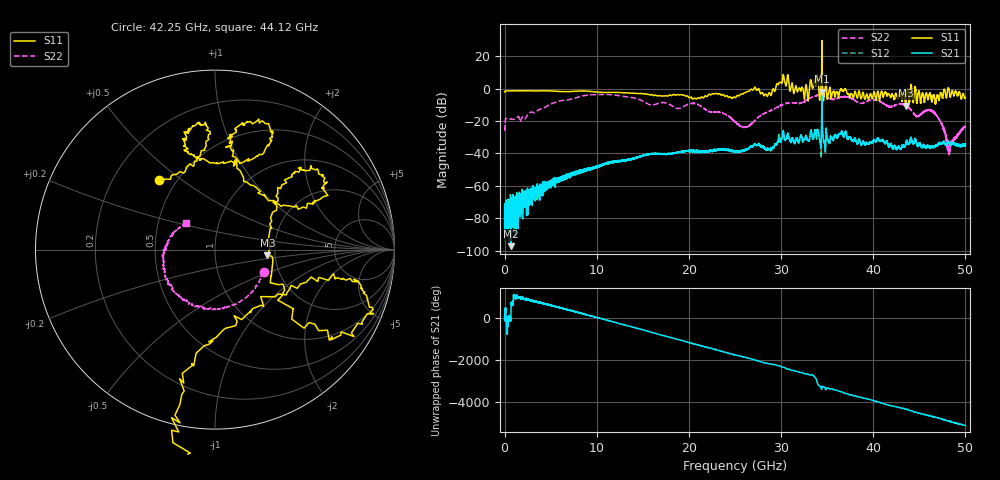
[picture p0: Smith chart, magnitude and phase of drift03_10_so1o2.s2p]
!Created with skrf (http://scikit-rf.org).
# Hz S RI R 50.0
!freq ReS11 ImS11 ReS21 ImS21 ReS12 ImS12 ReS22 ImS22
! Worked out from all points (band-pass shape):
!   10000 points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, 5.3 MHz to 50 GHz, reference 50 ohm
!   highest |S21| = -1.91 dB at 34.43 GHz (marker M1); lowest = -97.3 dB at 675.3 MHz (marker M2)
!   |S21| within 3 dB of the highest: 34.42771 GHz to 34.43407 GHz (6.358 MHz wide, 0.0185 % of centre)
!   lowest |S11| = -10.6 dB at 43.53 GHz (marker M3), VSWR 1.83, Z = 91 - j6.54 ohm
!   |S11| at or under -10 dB: 43.50901 GHz to 43.53439 GHz (25.38 MHz wide, 0.0583 % of centre)
!   |S22| runs from -40.9 to -3.6 dB; largest |S21 - S12| = 0.25
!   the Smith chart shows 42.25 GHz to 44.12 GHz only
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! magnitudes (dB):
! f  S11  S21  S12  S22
! 5.3 MHz  -2.1  -73.9  -70.7  -26.1
! 675.3 MHz  -1.4  -97.3  -84.8  -18.8
! 2.255 GHz  -1.3  -68.8  -72.8  -18.6
! 8.34 GHz  -1.5  -50.9  -51.3  -4.7
! 16.67 GHz  -4.4  -40.3  -40.3  -9.1
! 20.72 GHz  -6.2  -38.7  -38.4  -9.3
! 25.01 GHz  -5.5  -39.1  -38.8  -20.4
! 26.27 GHz  -2.1  -37.2  -37.5  -23.8
! 28.72 GHz  -2.5  -37.6  -37.6  -13.9
! 30.14 GHz  4.3  -29.5  -29.9  -10.0
! 32.74 GHz  2.0  -29.6  -29.2  -7.3
! 33.34 GHz  2.5  -27.3  -27.5  -5.3
! 33.82 GHz  3.9  -29.0  -29.5  -4.4
! 34.43 GHz  29.7  -1.9  -3.9  -4.0
! 36.48 GHz  -0.6  -28.0  -28.0  -5.4
! 41.67 GHz  -3.3  -35.4  -35.7  -11.2
! 43.53 GHz  -10.6  -34.1  -33.8  -10.4
! 44.74 GHz  -8.9  -34.3  -34.4  -17.3
! 46.64 GHz  -4.9  -35.7  -35.6  -15.2
! 47.5 GHz  -5.7  -33.9  -33.8  -22.9
! 48.22 GHz  -0.9  -33.7  -33.1  -36.5
! 50 GHz  -5.4  -34.6  -34.7  -23.3
